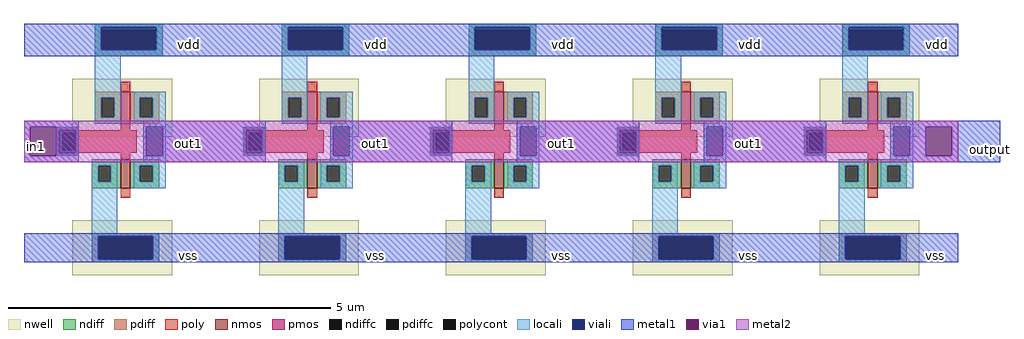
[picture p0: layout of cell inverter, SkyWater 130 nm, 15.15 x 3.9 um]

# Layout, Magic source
magic
tech sky130A
<< nwell >>
rect -95 20 60 110
rect 195 20 350 110
rect 485 20 640 110
rect 775 20 930 110
rect 1065 20 1220 110
rect -95 -195 60 -110
rect 195 -195 350 -110
rect 485 -195 640 -110
rect 775 -195 930 -110
rect 1065 -195 1220 -110
<< nmos >>
rect -20 -60 -5 -15
rect 270 -60 285 -15
rect 560 -60 575 -15
rect 850 -60 865 -15
rect 1140 -60 1155 -15
<< pmos >>
rect -20 40 -5 90
rect 270 40 285 90
rect 560 40 575 90
rect 850 40 865 90
rect 1140 40 1155 90
<< ndiff >>
rect -60 185 45 195
rect -60 155 -50 185
rect 35 155 45 185
rect -60 145 45 155
rect 230 185 335 195
rect 230 155 240 185
rect 325 155 335 185
rect 230 145 335 155
rect 520 185 625 195
rect 520 155 530 185
rect 615 155 625 185
rect 520 145 625 155
rect 810 185 915 195
rect 810 155 820 185
rect 905 155 915 185
rect 810 145 915 155
rect 1100 185 1205 195
rect 1100 155 1110 185
rect 1195 155 1205 185
rect 1100 145 1205 155
rect -65 -25 -20 -15
rect -65 -50 -55 -25
rect -35 -50 -20 -25
rect -65 -60 -20 -50
rect -5 -25 40 -15
rect -5 -50 10 -25
rect 30 -50 40 -25
rect -5 -60 40 -50
rect 225 -25 270 -15
rect 225 -50 235 -25
rect 255 -50 270 -25
rect 225 -60 270 -50
rect 285 -25 330 -15
rect 285 -50 300 -25
rect 320 -50 330 -25
rect 285 -60 330 -50
rect 515 -25 560 -15
rect 515 -50 525 -25
rect 545 -50 560 -25
rect 515 -60 560 -50
rect 575 -25 620 -15
rect 575 -50 590 -25
rect 610 -50 620 -25
rect 575 -60 620 -50
rect 805 -25 850 -15
rect 805 -50 815 -25
rect 835 -50 850 -25
rect 805 -60 850 -50
rect 865 -25 910 -15
rect 865 -50 880 -25
rect 900 -50 910 -25
rect 865 -60 910 -50
rect 1095 -25 1140 -15
rect 1095 -50 1105 -25
rect 1125 -50 1140 -25
rect 1095 -60 1140 -50
rect 1155 -25 1200 -15
rect 1155 -50 1170 -25
rect 1190 -50 1200 -25
rect 1155 -60 1200 -50
<< pdiff >>
rect -60 80 -20 90
rect -60 50 -50 80
rect -30 50 -20 80
rect -60 40 -20 50
rect -5 80 40 90
rect -5 50 10 80
rect 30 50 40 80
rect -5 40 40 50
rect 230 80 270 90
rect 230 50 240 80
rect 260 50 270 80
rect 230 40 270 50
rect 285 80 330 90
rect 285 50 300 80
rect 320 50 330 80
rect 285 40 330 50
rect 520 80 560 90
rect 520 50 530 80
rect 550 50 560 80
rect 520 40 560 50
rect 575 80 620 90
rect 575 50 590 80
rect 610 50 620 80
rect 575 40 620 50
rect 810 80 850 90
rect 810 50 820 80
rect 840 50 850 80
rect 810 40 850 50
rect 865 80 910 90
rect 865 50 880 80
rect 900 50 910 80
rect 865 40 910 50
rect 1100 80 1140 90
rect 1100 50 1110 80
rect 1130 50 1140 80
rect 1100 40 1140 50
rect 1155 80 1200 90
rect 1155 50 1170 80
rect 1190 50 1200 80
rect 1155 40 1200 50
rect -65 -135 40 -130
rect -65 -170 -55 -135
rect 30 -170 40 -135
rect -65 -175 40 -170
rect 225 -135 330 -130
rect 225 -170 235 -135
rect 320 -170 330 -135
rect 225 -175 330 -170
rect 515 -135 620 -130
rect 515 -170 525 -135
rect 610 -170 620 -135
rect 515 -175 620 -170
rect 805 -135 910 -130
rect 805 -170 815 -135
rect 900 -170 910 -135
rect 805 -175 910 -170
rect 1095 -135 1200 -130
rect 1095 -170 1105 -135
rect 1190 -170 1200 -135
rect 1095 -175 1200 -170
<< ndiffc >>
rect -50 155 35 185
rect 240 155 325 185
rect 530 155 615 185
rect 820 155 905 185
rect 1110 155 1195 185
rect -55 -50 -35 -25
rect 10 -50 30 -25
rect 235 -50 255 -25
rect 300 -50 320 -25
rect 525 -50 545 -25
rect 590 -50 610 -25
rect 815 -50 835 -25
rect 880 -50 900 -25
rect 1105 -50 1125 -25
rect 1170 -50 1190 -25
<< pdiffc >>
rect -50 50 -30 80
rect 10 50 30 80
rect 240 50 260 80
rect 300 50 320 80
rect 530 50 550 80
rect 590 50 610 80
rect 820 50 840 80
rect 880 50 900 80
rect 1110 50 1130 80
rect 1170 50 1190 80
rect -55 -170 30 -135
rect 235 -170 320 -135
rect 525 -170 610 -135
rect 815 -170 900 -135
rect 1105 -170 1190 -135
<< poly >>
rect -20 90 -5 105
rect 270 90 285 105
rect 560 90 575 105
rect 850 90 865 105
rect 1140 90 1155 105
rect -120 30 -85 35
rect -20 30 -5 40
rect 170 30 205 35
rect 270 30 285 40
rect 460 30 495 35
rect 560 30 575 40
rect 750 30 785 35
rect 850 30 865 40
rect 1040 30 1075 35
rect 1140 30 1155 40
rect -120 25 5 30
rect -120 0 -110 25
rect -90 0 5 25
rect -120 -5 5 0
rect 170 25 295 30
rect 170 0 180 25
rect 200 0 295 25
rect 170 -5 295 0
rect 460 25 585 30
rect 460 0 470 25
rect 490 0 585 25
rect 460 -5 585 0
rect 750 25 875 30
rect 750 0 760 25
rect 780 0 875 25
rect 750 -5 875 0
rect 1040 25 1165 30
rect 1040 0 1050 25
rect 1070 0 1165 25
rect 1040 -5 1165 0
rect -120 -10 -85 -5
rect -20 -15 -5 -5
rect 170 -10 205 -5
rect 270 -15 285 -5
rect 460 -10 495 -5
rect 560 -15 575 -5
rect 750 -10 785 -5
rect 850 -15 865 -5
rect 1040 -10 1075 -5
rect 1140 -15 1155 -5
rect -20 -75 -5 -60
rect 270 -75 285 -60
rect 560 -75 575 -60
rect 850 -75 865 -60
rect 1140 -75 1155 -60
<< polycont >>
rect -110 0 -90 25
rect 180 0 200 25
rect 470 0 490 25
rect 760 0 780 25
rect 1050 0 1070 25
<< locali >>
rect -60 190 45 195
rect -60 155 -50 190
rect 35 155 45 190
rect -60 145 45 155
rect 230 190 335 195
rect 230 155 240 190
rect 325 155 335 190
rect 230 145 335 155
rect 520 190 625 195
rect 520 155 530 190
rect 615 155 625 190
rect 520 145 625 155
rect 810 190 915 195
rect 810 155 820 190
rect 905 155 915 190
rect 810 145 915 155
rect 1100 190 1205 195
rect 1100 155 1110 190
rect 1195 155 1205 190
rect 1100 145 1205 155
rect -60 80 -20 145
rect -60 50 -50 80
rect -30 50 -20 80
rect -60 40 -20 50
rect 0 80 50 90
rect 0 50 10 80
rect 30 50 50 80
rect 0 40 50 50
rect 230 80 270 145
rect 230 50 240 80
rect 260 50 270 80
rect 230 40 270 50
rect 290 80 340 90
rect 290 50 300 80
rect 320 50 340 80
rect 290 40 340 50
rect 520 80 560 145
rect 520 50 530 80
rect 550 50 560 80
rect 520 40 560 50
rect 580 80 630 90
rect 580 50 590 80
rect 610 50 630 80
rect 580 40 630 50
rect 810 80 850 145
rect 810 50 820 80
rect 840 50 850 80
rect 810 40 850 50
rect 870 80 920 90
rect 870 50 880 80
rect 900 50 920 80
rect 870 40 920 50
rect 1100 80 1140 145
rect 1100 50 1110 80
rect 1130 50 1140 80
rect 1100 40 1140 50
rect 1160 80 1210 90
rect 1160 50 1170 80
rect 1190 50 1210 80
rect 1160 40 1210 50
rect 15 35 50 40
rect 305 35 340 40
rect 595 35 630 40
rect 885 35 920 40
rect 1175 35 1210 40
rect -120 30 -85 35
rect -120 -5 -115 30
rect -90 -5 -85 30
rect -120 -10 -85 -5
rect 15 -10 20 35
rect 45 -10 50 35
rect 170 30 205 35
rect 170 -5 175 30
rect 200 -5 205 30
rect 170 -10 205 -5
rect 305 -10 310 35
rect 335 -10 340 35
rect 460 30 495 35
rect 460 -5 465 30
rect 490 -5 495 30
rect 460 -10 495 -5
rect 595 -10 600 35
rect 625 -10 630 35
rect 750 30 785 35
rect 750 -5 755 30
rect 780 -5 785 30
rect 750 -10 785 -5
rect 885 -10 890 35
rect 915 -10 920 35
rect 1040 30 1075 35
rect 1040 -5 1045 30
rect 1070 -5 1075 30
rect 1040 -10 1075 -5
rect 1175 -10 1180 35
rect 1205 -10 1210 35
rect 15 -15 50 -10
rect 305 -15 340 -10
rect 595 -15 630 -10
rect 885 -15 920 -10
rect 1175 -15 1210 -10
rect -65 -25 -25 -15
rect -65 -50 -55 -25
rect -35 -50 -25 -25
rect -65 -130 -25 -50
rect 0 -25 50 -15
rect 0 -50 10 -25
rect 30 -50 50 -25
rect 0 -60 50 -50
rect 225 -25 265 -15
rect 225 -50 235 -25
rect 255 -50 265 -25
rect 225 -130 265 -50
rect 290 -25 340 -15
rect 290 -50 300 -25
rect 320 -50 340 -25
rect 290 -60 340 -50
rect 515 -25 555 -15
rect 515 -50 525 -25
rect 545 -50 555 -25
rect 515 -130 555 -50
rect 580 -25 630 -15
rect 580 -50 590 -25
rect 610 -50 630 -25
rect 580 -60 630 -50
rect 805 -25 845 -15
rect 805 -50 815 -25
rect 835 -50 845 -25
rect 805 -130 845 -50
rect 870 -25 920 -15
rect 870 -50 880 -25
rect 900 -50 920 -25
rect 870 -60 920 -50
rect 1095 -25 1135 -15
rect 1095 -50 1105 -25
rect 1125 -50 1135 -25
rect 1095 -130 1135 -50
rect 1160 -25 1210 -15
rect 1160 -50 1170 -25
rect 1190 -50 1210 -25
rect 1160 -60 1210 -50
rect -65 -135 40 -130
rect -65 -170 -55 -135
rect 30 -170 40 -135
rect -65 -175 40 -170
rect 225 -135 330 -130
rect 225 -170 235 -135
rect 320 -170 330 -135
rect 225 -175 330 -170
rect 515 -135 620 -130
rect 515 -170 525 -135
rect 610 -170 620 -135
rect 515 -175 620 -170
rect 805 -135 910 -130
rect 805 -170 815 -135
rect 900 -170 910 -135
rect 805 -175 910 -170
rect 1095 -135 1200 -130
rect 1095 -170 1105 -135
rect 1190 -170 1200 -135
rect 1095 -175 1200 -170
<< viali >>
rect -50 185 35 190
rect -50 155 35 185
rect 240 185 325 190
rect 240 155 325 185
rect 530 185 615 190
rect 530 155 615 185
rect 820 185 905 190
rect 820 155 905 185
rect 1110 185 1195 190
rect 1110 155 1195 185
rect -115 25 -90 30
rect -115 0 -110 25
rect -110 0 -90 25
rect -115 -5 -90 0
rect 20 -10 45 35
rect 175 25 200 30
rect 175 0 180 25
rect 180 0 200 25
rect 175 -5 200 0
rect 310 -10 335 35
rect 465 25 490 30
rect 465 0 470 25
rect 470 0 490 25
rect 465 -5 490 0
rect 600 -10 625 35
rect 755 25 780 30
rect 755 0 760 25
rect 760 0 780 25
rect 755 -5 780 0
rect 890 -10 915 35
rect 1045 25 1070 30
rect 1045 0 1050 25
rect 1050 0 1070 25
rect 1045 -5 1070 0
rect 1180 -10 1205 35
rect -55 -170 30 -135
rect 235 -170 320 -135
rect 525 -170 610 -135
rect 815 -170 900 -135
rect 1105 -170 1190 -135
<< metal1 >>
rect -170 190 1280 195
rect -170 155 -50 190
rect 35 155 240 190
rect 325 155 530 190
rect 615 155 820 190
rect 905 155 1110 190
rect 1195 155 1280 190
rect -170 145 1280 155
rect -170 35 -85 45
rect -170 -10 -160 35
rect -120 30 -85 35
rect -120 -5 -115 30
rect -90 -5 -85 30
rect -120 -10 -85 -5
rect -170 -20 -85 -10
rect 15 35 205 45
rect 15 -10 20 35
rect 45 30 205 35
rect 45 -5 175 30
rect 200 -5 205 30
rect 45 -10 205 -5
rect 15 -20 205 -10
rect 305 35 495 45
rect 305 -10 310 35
rect 335 30 495 35
rect 335 -5 465 30
rect 490 -5 495 30
rect 335 -10 495 -5
rect 305 -20 495 -10
rect 595 35 785 45
rect 595 -10 600 35
rect 625 30 785 35
rect 625 -5 755 30
rect 780 -5 785 30
rect 625 -10 785 -5
rect 595 -20 785 -10
rect 885 35 1075 45
rect 885 -10 890 35
rect 915 30 1075 35
rect 915 -5 1045 30
rect 1070 -5 1075 30
rect 915 -10 1075 -5
rect 885 -20 1075 -10
rect 1175 35 1345 45
rect 1175 -10 1180 35
rect 1205 -10 1230 35
rect 1270 -10 1345 35
rect 1175 -20 1345 -10
rect -170 -135 1280 -130
rect -170 -170 -55 -135
rect 30 -170 235 -135
rect 320 -170 525 -135
rect 610 -170 815 -135
rect 900 -170 1105 -135
rect 1190 -170 1280 -135
rect -170 -175 1280 -170
<< via1 >>
rect -160 -10 -120 35
rect 1230 -10 1270 35
<< metal2 >>
rect -170 35 1280 45
rect -170 -10 -160 35
rect -120 -10 1230 35
rect 1270 -10 1280 35
rect -170 -20 1280 -10
<< labels >>
rlabel metal1 80 -170 90 -160 1 vss
rlabel via1 -155 0 -145 10 1 in1
rlabel metal1 60 150 115 175 1 vdd
rlabel metal1 370 -170 380 -160 1 vss
rlabel metal1 370 5 380 15 1 out1
rlabel metal1 350 150 405 175 1 vdd
rlabel metal1 660 -170 670 -160 1 vss
rlabel metal1 660 5 670 15 1 out1
rlabel metal1 640 150 695 175 1 vdd
rlabel metal1 950 -170 960 -160 1 vss
rlabel metal1 950 5 960 15 1 out1
rlabel metal1 930 150 985 175 1 vdd
rlabel metal1 1240 -170 1250 -160 1 vss
rlabel metal1 1220 150 1275 175 1 vdd
rlabel metal1 950 5 960 15 1 out4
rlabel metal1 660 5 670 15 1 out3
rlabel metal1 370 5 380 15 1 out2
rlabel metal1 80 5 90 15 1 out1
rlabel via1 -155 0 -145 10 1 input
rlabel metal1 1325 -5 1335 5 1 output
<< end >>
